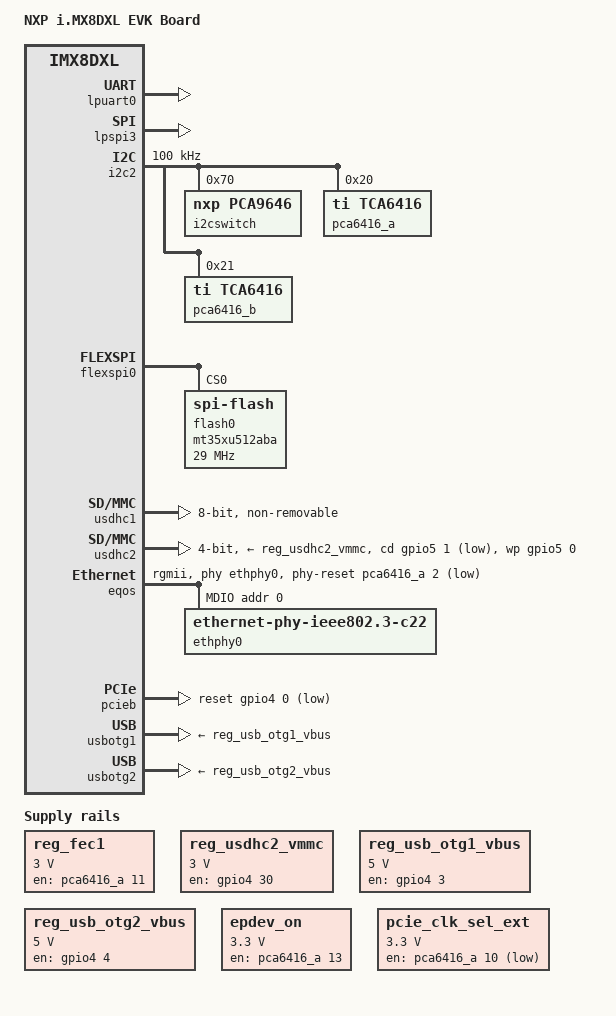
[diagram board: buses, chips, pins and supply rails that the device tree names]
// SPDX-License-Identifier: GPL-2.0+
/*
 * Copyright 2020 NXP
 */

/dts-v1/;

#include "fsl-imx8dxl.dtsi"

/ {
	model = "NXP i.MX8DXL EVK Board";
	compatible = "fsl,imx8dxl-evk", "fsl,imx8dxl";

	chosen {
		bootargs = "console=ttyLP0,115200 earlycon";
		stdout-path = &lpuart0;
	};

	regulators {
		compatible = "simple-bus";
		#address-cells = <1>;
		#size-cells = <0>;

		reg_fec1: regfec1 {
			compatible = "regulator-fixed";
			regulator-name = "fec1_supply";
			regulator-min-microvolt = <3000000>;
			regulator-max-microvolt = <3000000>;
			gpio = <&pca6416_a 11 GPIO_ACTIVE_LOW>;
			enable-active-high;
		};

		reg_usdhc2_vmmc: usdhc2_vmmc {
			compatible = "regulator-fixed";
			regulator-name = "SD1_SPWR";
			regulator-min-microvolt = <3000000>;
			regulator-max-microvolt = <3000000>;
			gpio = <&gpio4 30 GPIO_ACTIVE_HIGH>;
			enable-active-high;
			startup-delay-us = <100>;
			u-boot,off-on-delay-us = <12000>;
		};

		reg_usb_otg1_vbus: regulator@0 {
			compatible = "regulator-fixed";
			reg = <0>;
			regulator-name = "usb_otg1_vbus";
			regulator-min-microvolt = <5000000>;
			regulator-max-microvolt = <5000000>;
			gpio = <&gpio4 3 GPIO_ACTIVE_HIGH>;
			enable-active-high;
		};

		reg_usb_otg2_vbus: regulator@1 {
			compatible = "regulator-fixed";
			reg = <1>;
			regulator-name = "usb_otg2_vbus";
			regulator-min-microvolt = <5000000>;
			regulator-max-microvolt = <5000000>;
			gpio = <&gpio4 4 GPIO_ACTIVE_HIGH>;
			enable-active-high;
		};

		epdev_on: fixedregulator@100 {
			compatible = "regulator-fixed";
			regulator-min-microvolt = <3300000>;
			regulator-max-microvolt = <3300000>;
			regulator-name = "epdev_on";
			gpio = 	<&pca6416_a 13 GPIO_ACTIVE_HIGH>;
			enable-active-high;

		};

		pcie_clk_sel_ext: fixedregulator@101 {
			compatible = "regulator-fixed";
			regulator-min-microvolt = <0000000>;
			regulator-max-microvolt = <3300000>;
			regulator-name = "clk_ext_sel";
			gpio = <&pca6416_a 10 GPIO_ACTIVE_HIGH>;
			regulator-always-on;
		};

	};
};

&iomuxc {
	pinctrl-names = "default";
	pinctrl-0 = <&pinctrl_hog>;

	imx8dxl-evk {
		pinctrl_hog: hoggrp {
			fsl,pins = <
				SC_P_COMP_CTL_GPIO_1V8_3V3_GPIORHB_PAD	0x000514a0
				SC_P_USB_SS3_TC0_LSIO_GPIO4_IO03 0x00000021
				SC_P_USB_SS3_TC1_LSIO_GPIO4_IO04 0x00000021
			>;
		};

		pinctrl_eqos: eqosgrp {
			fsl,pins = <
				SC_P_COMP_CTL_GPIO_1V8_3V3_GPIORHB_PAD		0x000514a0
				SC_P_ENET0_MDC_CONN_EQOS_MDC				0x06000020
				SC_P_ENET0_MDIO_CONN_EQOS_MDIO			0x06000020
				SC_P_ENET1_RGMII_TX_CTL_CONN_EQOS_RGMII_TX_CTL		0x00000060
				SC_P_ENET1_RGMII_TXC_CONN_EQOS_RGMII_TXC		0x00000060
				SC_P_ENET1_RGMII_TXD0_CONN_EQOS_RGMII_TXD0	0x00000060
				SC_P_ENET1_RGMII_TXD1_CONN_EQOS_RGMII_TXD1	0x00000060
				SC_P_ENET1_RGMII_TXD2_CONN_EQOS_RGMII_TXD2	0x00000060
				SC_P_ENET1_RGMII_TXD3_CONN_EQOS_RGMII_TXD3	0x00000060
				SC_P_ENET1_RGMII_RXC_CONN_EQOS_RGMII_RXC		0x00000060
				SC_P_ENET1_RGMII_RX_CTL_CONN_EQOS_RGMII_RX_CTL	0x00000060
				SC_P_ENET1_RGMII_RXD0_CONN_EQOS_RGMII_RXD0	0x00000060
				SC_P_ENET1_RGMII_RXD1_CONN_EQOS_RGMII_RXD1	0x00000060
				SC_P_ENET1_RGMII_RXD2_CONN_EQOS_RGMII_RXD2	0x00000060
				SC_P_ENET1_RGMII_RXD3_CONN_EQOS_RGMII_RXD3	0x00000060
			>;
		};

		pinctrl_fec1: fec1grp {
			fsl,pins = <
				SC_P_COMP_CTL_GPIO_1V8_3V3_ENET_ENETB0_PAD	0x000014a0
				SC_P_COMP_CTL_GPIO_1V8_3V3_ENET_ENETB1_PAD	0x000014a0
				SC_P_ENET0_MDC_CONN_ENET0_MDC			0x06000020
				SC_P_ENET0_MDIO_CONN_ENET0_MDIO			0x06000020
				SC_P_ENET0_RGMII_TX_CTL_CONN_ENET0_RGMII_TX_CTL	0x00000060
				SC_P_ENET0_RGMII_TXC_CONN_ENET0_RGMII_TXC	0x00000060
				SC_P_ENET0_RGMII_TXD0_CONN_ENET0_RGMII_TXD0	0x00000060
				SC_P_ENET0_RGMII_TXD1_CONN_ENET0_RGMII_TXD1	0x00000060
				SC_P_ENET0_RGMII_TXD2_CONN_ENET0_RGMII_TXD2	0x00000060
				SC_P_ENET0_RGMII_TXD3_CONN_ENET0_RGMII_TXD3	0x00000060
				SC_P_ENET0_RGMII_RXC_CONN_ENET0_RGMII_RXC	0x00000060
				SC_P_ENET0_RGMII_RX_CTL_CONN_ENET0_RGMII_RX_CTL	0x00000060
				SC_P_ENET0_RGMII_RXD0_CONN_ENET0_RGMII_RXD0	0x00000060
				SC_P_ENET0_RGMII_RXD1_CONN_ENET0_RGMII_RXD1	0x00000060
				SC_P_ENET0_RGMII_RXD2_CONN_ENET0_RGMII_RXD2	0x00000060
				SC_P_ENET0_RGMII_RXD3_CONN_ENET0_RGMII_RXD3	0x00000060
			>;
		};

		pinctrl_lpuart0: lpuart0grp {
			fsl,pins = <
				SC_P_UART0_RX_ADMA_UART0_RX	0x06000020
				SC_P_UART0_TX_ADMA_UART0_TX	0x06000020
			>;
		};

		pinctrl_lpi2c2: lpi2c2grp {
			fsl,pins = <
				SC_P_SPI1_SDO_ADMA_I2C2_SCL	0x06000021
				SC_P_SPI1_SCK_ADMA_I2C2_SDA	0x06000021
			>;
		};

		pinctrl_lpi2c3: lpi2c3grp {
			fsl,pins = <
				SC_P_SPI1_SDI_ADMA_I2C3_SCL	0x06000021
				SC_P_SPI1_CS0_ADMA_I2C3_SDA	0x06000021
			>;
		};

		pinctrl_lpspi3: lpspi3grp {
			fsl,pins = <
				SC_P_SPI3_SCK_ADMA_SPI3_SCK	0x0600004c
				SC_P_SPI3_SDO_ADMA_SPI3_SDO	0x0600004c
				SC_P_SPI3_SDI_ADMA_SPI3_SDI	0x0600004c
				SC_P_SPI3_CS1_ADMA_SPI3_CS1	0x0600004c
				SC_P_SPI3_CS0_LSIO_GPIO0_IO16	0x21
			>;
		};

		pinctrl_usdhc1: usdhc1grp {
			fsl,pins = <
				SC_P_EMMC0_CLK_CONN_EMMC0_CLK		0x06000041
				SC_P_EMMC0_CMD_CONN_EMMC0_CMD		0x00000021
				SC_P_EMMC0_DATA0_CONN_EMMC0_DATA0	0x00000021
				SC_P_EMMC0_DATA1_CONN_EMMC0_DATA1	0x00000021
				SC_P_EMMC0_DATA2_CONN_EMMC0_DATA2	0x00000021
				SC_P_EMMC0_DATA3_CONN_EMMC0_DATA3	0x00000021
				SC_P_EMMC0_DATA4_CONN_EMMC0_DATA4	0x00000021
				SC_P_EMMC0_DATA5_CONN_EMMC0_DATA5	0x00000021
				SC_P_EMMC0_DATA6_CONN_EMMC0_DATA6	0x00000021
				SC_P_EMMC0_DATA7_CONN_EMMC0_DATA7	0x00000021
				SC_P_EMMC0_STROBE_CONN_EMMC0_STROBE	0x00000041
			>;
		};

		pinctrl_usdhc1_100mhz: usdhc1grp100mhz {
			fsl,pins = <
				SC_P_EMMC0_CLK_CONN_EMMC0_CLK		0x06000041
				SC_P_EMMC0_CMD_CONN_EMMC0_CMD		0x00000021
				SC_P_EMMC0_DATA0_CONN_EMMC0_DATA0	0x00000021
				SC_P_EMMC0_DATA1_CONN_EMMC0_DATA1	0x00000021
				SC_P_EMMC0_DATA2_CONN_EMMC0_DATA2	0x00000021
				SC_P_EMMC0_DATA3_CONN_EMMC0_DATA3	0x00000021
				SC_P_EMMC0_DATA4_CONN_EMMC0_DATA4	0x00000021
				SC_P_EMMC0_DATA5_CONN_EMMC0_DATA5	0x00000021
				SC_P_EMMC0_DATA6_CONN_EMMC0_DATA6	0x00000021
				SC_P_EMMC0_DATA7_CONN_EMMC0_DATA7	0x00000021
				SC_P_EMMC0_STROBE_CONN_EMMC0_STROBE	0x00000041
			>;
		};

		pinctrl_usdhc1_200mhz: usdhc1grp200mhz {
			fsl,pins = <
				SC_P_EMMC0_CLK_CONN_EMMC0_CLK		0x06000041
				SC_P_EMMC0_CMD_CONN_EMMC0_CMD		0x00000021
				SC_P_EMMC0_DATA0_CONN_EMMC0_DATA0	0x00000021
				SC_P_EMMC0_DATA1_CONN_EMMC0_DATA1	0x00000021
				SC_P_EMMC0_DATA2_CONN_EMMC0_DATA2	0x00000021
				SC_P_EMMC0_DATA3_CONN_EMMC0_DATA3	0x00000021
				SC_P_EMMC0_DATA4_CONN_EMMC0_DATA4	0x00000021
				SC_P_EMMC0_DATA5_CONN_EMMC0_DATA5	0x00000021
				SC_P_EMMC0_DATA6_CONN_EMMC0_DATA6	0x00000021
				SC_P_EMMC0_DATA7_CONN_EMMC0_DATA7	0x00000021
				SC_P_EMMC0_STROBE_CONN_EMMC0_STROBE	0x00000041
			>;
		};

		pinctrl_usdhc2_gpio: usdhc2gpiogrp {
			fsl,pins = <
				SC_P_ENET0_RGMII_TX_CTL_LSIO_GPIO4_IO30	0x00000021 /* RESET_B */
				SC_P_ENET0_RGMII_TXD1_LSIO_GPIO5_IO00		0x00000021 /* WP */
				SC_P_ENET0_RGMII_TXD2_LSIO_GPIO5_IO01	0x00000021 /* CD */
			>;
		};

		pinctrl_usdhc2: usdhc2grp {
			fsl,pins = <
				SC_P_ENET0_RGMII_RXC_CONN_USDHC1_CLK		0x06000041
				SC_P_ENET0_RGMII_RX_CTL_CONN_USDHC1_CMD		0x00000021
				SC_P_ENET0_RGMII_RXD0_CONN_USDHC1_DATA0	0x00000021
				SC_P_ENET0_RGMII_RXD1_CONN_USDHC1_DATA1	0x00000021
				SC_P_ENET0_RGMII_RXD2_CONN_USDHC1_DATA2	0x00000021
				SC_P_ENET0_RGMII_RXD3_CONN_USDHC1_DATA3	0x00000021
				SC_P_ENET0_RGMII_TXD0_CONN_USDHC1_VSELECT	0x00000021
			>;
		};

		pinctrl_usdhc2_100mhz: usdhc2grp100mhz {
			fsl,pins = <
				SC_P_ENET0_RGMII_RXC_CONN_USDHC1_CLK		0x06000041
				SC_P_ENET0_RGMII_RX_CTL_CONN_USDHC1_CMD		0x00000021
				SC_P_ENET0_RGMII_RXD0_CONN_USDHC1_DATA0	0x00000021
				SC_P_ENET0_RGMII_RXD1_CONN_USDHC1_DATA1	0x00000021
				SC_P_ENET0_RGMII_RXD2_CONN_USDHC1_DATA2	0x00000021
				SC_P_ENET0_RGMII_RXD3_CONN_USDHC1_DATA3	0x00000021
				SC_P_ENET0_RGMII_TXD0_CONN_USDHC1_VSELECT	0x00000021
			>;
		};

		pinctrl_usdhc2_200mhz: usdhc2grp200mhz {
			fsl,pins = <
				SC_P_ENET0_RGMII_RXC_CONN_USDHC1_CLK		0x06000041
				SC_P_ENET0_RGMII_RX_CTL_CONN_USDHC1_CMD		0x00000021
				SC_P_ENET0_RGMII_RXD0_CONN_USDHC1_DATA0	0x00000021
				SC_P_ENET0_RGMII_RXD1_CONN_USDHC1_DATA1	0x00000021
				SC_P_ENET0_RGMII_RXD2_CONN_USDHC1_DATA2	0x00000021
				SC_P_ENET0_RGMII_RXD3_CONN_USDHC1_DATA3	0x00000021
				SC_P_ENET0_RGMII_TXD0_CONN_USDHC1_VSELECT	0x00000021
			>;
		};

		pinctrl_flexspi0: flexspi0grp {
			fsl,pins = <
				SC_P_QSPI0A_DATA0_LSIO_QSPI0A_DATA0	0x06000021
				SC_P_QSPI0A_DATA1_LSIO_QSPI0A_DATA1	0x06000021
				SC_P_QSPI0A_DATA2_LSIO_QSPI0A_DATA2	0x06000021
				SC_P_QSPI0A_DATA3_LSIO_QSPI0A_DATA3	0x06000021
				SC_P_QSPI0A_DQS_LSIO_QSPI0A_DQS		0x06000021
				SC_P_QSPI0A_SS0_B_LSIO_QSPI0A_SS0_B	0x06000021
				SC_P_QSPI0A_SCLK_LSIO_QSPI0A_SCLK	0x06000021
				SC_P_QSPI0B_DATA0_LSIO_QSPI0B_DATA0	0x06000021
				SC_P_QSPI0B_DATA1_LSIO_QSPI0B_DATA1	0x06000021
				SC_P_QSPI0B_DATA2_LSIO_QSPI0B_DATA2	0x06000021
				SC_P_QSPI0B_DATA3_LSIO_QSPI0B_DATA3	0x06000021
			>;
		};

		pinctrl_pcieb: pcieagrp{
			fsl,pins = <
				SC_P_PCIE_CTRL0_PERST_B_LSIO_GPIO4_IO00		0x06000021
				SC_P_PCIE_CTRL0_CLKREQ_B_LSIO_GPIO4_IO01	0x06000021
				SC_P_PCIE_CTRL0_WAKE_B_LSIO_GPIO4_IO02		0x04000021
			>;
		};
	};
};

&A35_0 {
	u-boot,dm-pre-reloc;
};

&lpuart0 {
	pinctrl-names = "default";
	pinctrl-0 = <&pinctrl_lpuart0>;
	status = "okay";
};

&gpio0 {
	status = "okay";
};

&gpio4 {
	status = "okay";
};

&gpio5 {
	status = "okay";
};

&lpspi3 {
	#address-cells = <1>;
	#size-cells = <0>;
	pinctrl-names = "default";
	pinctrl-0 = <&pinctrl_lpspi3>;
	cs-gpios = <&gpio0 16 GPIO_ACTIVE_LOW>, <0>, <0>, <0>;
	spi-max-frequency = <1000000>;
	status = "okay";
};

&i2c2 {
	clock-frequency = <100000>;
	pinctrl-names = "default";
	pinctrl-0 = <&pinctrl_lpi2c2>;
	status = "okay";

	i2cswitch@70 {
		compatible = "nxp,pca9646";
		reg = <0x70>;
		u-boot,i2c-offset-len = <0>;
		#address-cells = <1>;
		#size-cells = <0>;

		v2x_i2c2: i2c@0 {
			#address-cells = <1>;
			#size-cells = <0>;
			reg = <0x0>;
		};

		audio_codec1_i2c2: i2c@1 {
			#address-cells = <1>;
			#size-cells = <0>;
			reg = <0x1>;
		};

		audio_codec2_i2c2: i2c@2 {
			#address-cells = <1>;
			#size-cells = <0>;
			reg = <0x2>;
		};

		audio_codec3_i2c2: i2c@3 {
			#address-cells = <1>;
			#size-cells = <0>;
			reg = <0x3>;
		};

		m2_i2c2: i2c@4 {
			#address-cells = <1>;
			#size-cells = <0>;
			reg = <0x4>;
		};

		pcie_i2c2: i2c@5 {
			#address-cells = <1>;
			#size-cells = <0>;
			reg = <0x5>;
		};

		lcd_i2c2: i2c@6 {
			#address-cells = <1>;
			#size-cells = <0>;
			reg = <0x6>;
		};
	};

	pca6416_a: gpio@20 {
		compatible = "ti,tca6416";
		reg = <0x20>;
		gpio-controller;
		#gpio-cells = <2>;
	};

	pca6416_b: gpio@21 {
		compatible = "ti,tca6416";
		reg = <0x21>;
		gpio-controller;
		#gpio-cells = <2>;
	};
};

&i2c3 {
	clock-frequency = <100000>;
	pinctrl-names = "default";
	pinctrl-0 = <&pinctrl_lpi2c3>;
	status = "disabled";

	i2cswitch@70 {
		compatible = "nxp,pca9646";
		reg = <0x70>;
		u-boot,i2c-offset-len = <0>;
		#address-cells = <1>;
		#size-cells = <0>;

		alt_audio_codec1_i2c3: i2c@0 {
			#address-cells = <1>;
			#size-cells = <0>;
			reg = <0x0>;
		};

		alt_audio_codec2_i2c3: i2c@1 {
			#address-cells = <1>;
			#size-cells = <0>;
			reg = <0x1>;
		};

		alt_audio_codec3_i2c3: i2c@2 {
			#address-cells = <1>;
			#size-cells = <0>;
			reg = <0x2>;
		};

		usb1_i2c3: i2c@3 {
			#address-cells = <1>;
			#size-cells = <0>;
			reg = <0x3>;
		};

		usb2_i2c3: i2c@4 {
			#address-cells = <1>;
			#size-cells = <0>;
			reg = <0x4>;
		};
	};

	pca6416_c: gpio@20 {
		compatible = "ti,tca6416";
		reg = <0x20>;
		gpio-controller;
		#gpio-cells = <2>;
	};
};

&flexspi0 {
	pinctrl-names = "default";
	pinctrl-0 = <&pinctrl_flexspi0>;
	status = "okay";

	flash0: mt35xu512aba@0 {
		reg = <0>;
		#address-cells = <1>;
		#size-cells = <1>;
		compatible = "spi-flash";
		spi-max-frequency = <29000000>;
		spi-nor,ddr-quad-read-dummy = <8>;
	};
};

&usdhc1 {
	pinctrl-names = "default", "state_100mhz", "state_200mhz";
	pinctrl-0 = <&pinctrl_usdhc1>;
	pinctrl-1 = <&pinctrl_usdhc1_100mhz>;
	pinctrl-2 = <&pinctrl_usdhc1_200mhz>;
	bus-width = <8>;
	non-removable;
	status = "okay";
};

&usdhc2 {
	pinctrl-names = "default", "state_100mhz", "state_200mhz";
	pinctrl-0 = <&pinctrl_usdhc2>, <&pinctrl_usdhc2_gpio>;
	pinctrl-1 = <&pinctrl_usdhc2_100mhz>, <&pinctrl_usdhc2_gpio>;
	pinctrl-2 = <&pinctrl_usdhc2_200mhz>, <&pinctrl_usdhc2_gpio>;
	bus-width = <4>;
	cd-gpios = <&gpio5 1 GPIO_ACTIVE_LOW>;
	wp-gpios = <&gpio5 0 GPIO_ACTIVE_HIGH>;
	vmmc-supply = <&reg_usdhc2_vmmc>;
	max-frequency = <100000000>;
	status = "okay";
};

&eqos {
	pinctrl-names = "default";
	pinctrl-0 = <&pinctrl_eqos>;
	phy-mode = "rgmii";
	phy-handle = <&ethphy0>;
	fsl,ar8031-phy-fixup;
	fsl,magic-packet;
	status = "okay";

	phy-reset-gpios = <&pca6416_a 2 GPIO_ACTIVE_LOW>;
	phy-reset-duration = <10>;
	phy-reset-post-delay = <150>;

	mdio {
		#address-cells = <1>;
		#size-cells = <0>;

		ethphy0: ethernet-phy@0 {
			compatible = "ethernet-phy-ieee802.3-c22";
			reg = <0>;
		};

	};
};

&pcieb{
	ext_osc = <0>;
	pinctrl-names = "default";
	pinctrl-0 = <&pinctrl_pcieb>;
	clkreq-gpio = <&gpio4 1 GPIO_ACTIVE_LOW>;
	power-on-gpio = <&pca6416_a 12 GPIO_ACTIVE_HIGH>;
	reset-gpio = <&gpio4 0 GPIO_ACTIVE_LOW>;
	epdev_on = <&epdev_on>;
	status = "okay";
};

&fec1 {
	pinctrl-names = "default";
	pinctrl-0 = <&pinctrl_fec1>;
	phy-mode = "rgmii";
	phy-handle = <&ethphy1>;
	fsl,ar8031-phy-fixup;
	fsl,magic-packet;
	phy-supply = <&reg_fec1>;
	status = "disable";
	phy-reset-gpios = <&pca6416_a 0 GPIO_ACTIVE_LOW>;
	phy-reset-duration = <10>;
	phy-reset-post-delay = <150>;

	/* mdio/mdc pins conflict with eqos, so should be shared mii bus
	 * fec1 pins has conflict with usdhc2
	 * for bringup, only enable one mac
	 */
	mdio {
		#address-cells = <1>;
		#size-cells = <0>;

		ethphy1: ethernet-phy@1 {
			compatible = "ethernet-phy-ieee802.3-c22";
			reg = <1>; /* ensure your net card phy id: 0x1 */
		};

	};
};

&usbotg1 {
	vbus-supply = <&reg_usb_otg1_vbus>;
	srp-disable;
	hnp-disable;
	adp-disable;
	power-polarity-active-high;
	disable-over-current;
	status = "okay";
};

&usbotg2 {
	vbus-supply = <&reg_usb_otg2_vbus>;
	srp-disable;
	hnp-disable;
	adp-disable;
	power-polarity-active-high;
	disable-over-current;
	status = "okay";
};
